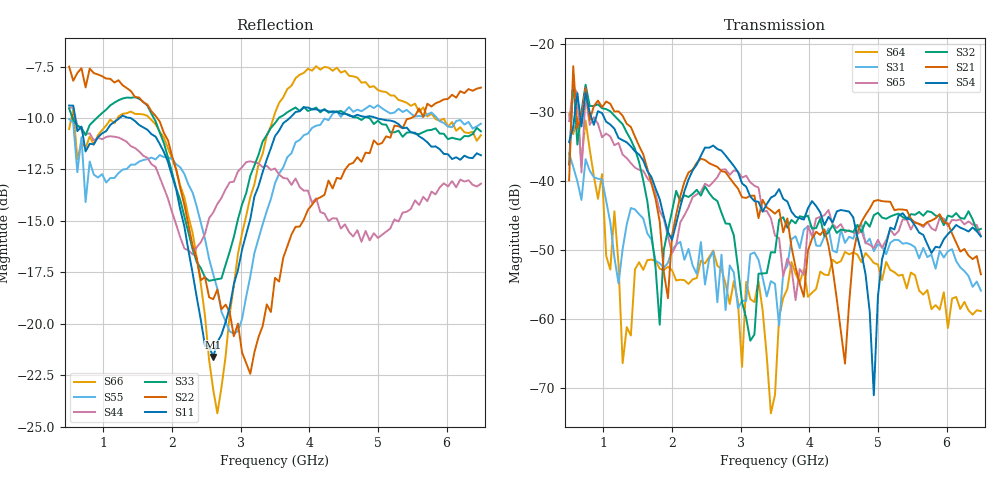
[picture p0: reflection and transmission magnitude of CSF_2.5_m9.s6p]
!Keysight Technologies,M9804A,MY58100912,A.14.10.03
!Date: Thursday, April 27, 2023 10:28:33
!Correction: S11(C  6-Port  )
!S12(C  6-Port  )
!S13(C  6-Port  )
!S14(C  6-Port  )
!S15(C  6-Port  )
!S16(C  6-Port  )
!S21(C  6-Port  )
!S22(C  6-Port  )
!S23(C  6-Port  )
!S24(C  6-Port  )
!S25(C  6-Port  )
!S26(C  6-Port  )
!S31(C  6-Port  )
!S32(C  6-Port  )
!S33(C  6-Port  )
!S34(C  6-Port  )
!S35(C  6-Port  )
!S36(C  6-Port  )
!S41(C  6-Port  )
!S42(C  6-Port  )
!S43(C  6-Port  )
!S44(C  6-Port  )
!S45(C  6-Port  )
!S46(C  6-Port  )
!S51(C  6-Port  )
!S52(C  6-Port  )
!S53(C  6-Port  )
!S54(C  6-Port  )
!S55(C  6-Port  )
!S56(C  6-Port  )
!S61(C  6-Port  )
!S62(C  6-Port  )
!S63(C  6-Port  )
!S64(C  6-Port  )
!S65(C  6-Port  )
!S66(C  6-Port  )
!S6P File: Measurement: :
# Hz S  RI  R 50
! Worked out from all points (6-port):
!   101 points, 500 MHz to 6.5 GHz, reference 50 ohm
!   strongest paths, dB at 500 MHz, 2 GHz, 3.5 GHz, 5 GHz, 6.5 GHz:
!     S54: -34.3, -48.5, -42.0, -56.7, -48.0
!     S21: -39.9, -47.8, -44.7, -42.7, -53.5
!     S32: -37.6, -44.3, -50.3, -44.6, -46.9
!     S65: -31.3, -50.4, -47.9, -48.5, -48.0
!     S31: -35.9, -50.0, -54.9, -49.1, -55.9
!     S64: -30.2, -52.9, -71.0, -52.1, -58.8
!   lowest |S11| = -21.6 dB at 2.6 GHz (marker M1), VSWR 1.18, Z = 42.6 + j2.03 ohm
!   |S11| at or under -10 dB: 589.1 MHz to 1.237 GHz (647.8 MHz wide, 70.9 % of centre); 1.391 GHz to 3.714 GHz (2.323 GHz wide, 91 % of centre); 4.975 GHz to end of sweep
